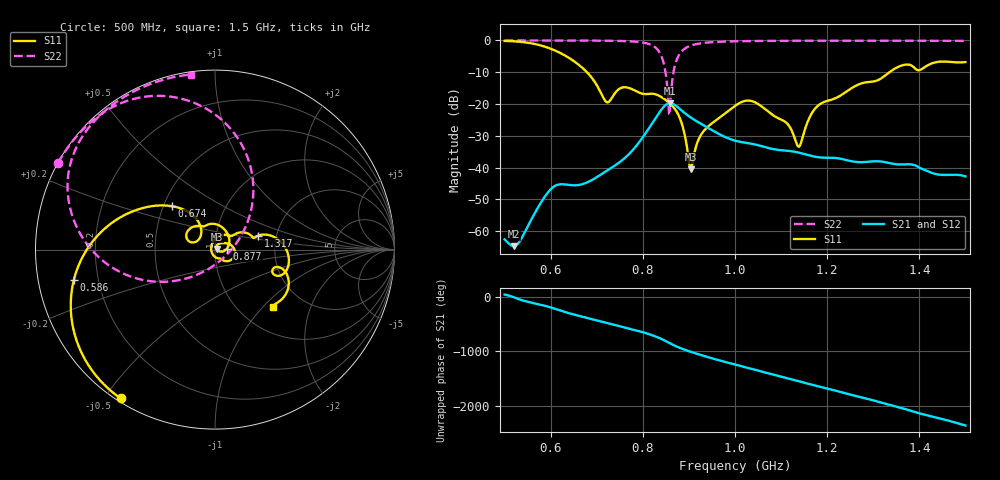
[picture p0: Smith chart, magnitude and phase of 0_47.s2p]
! TOUCHSTONE file generated by CST MICROWAVE STUDIO
! Date and time: Sat Oct 24 11:18:23 2020
! Project name: Scenario_1_Circular_Tissue_in_Line.cst
! Parameters = {L_HA=400; MT=2.54; Rad_Dielectric=30; Rad_Lower=7.3; Rad_Upper=30; a_HA=580; a_WG=246; b_HA=500; b_WG=121; c_HA=0; c_WG=187; d_feed=85; dx1=969.72; h_feed=15; h_lower=18; h_upper=40}
! Header version: 2018
! Port assignment regex: !\s*Touchstone port\s*([0-9]+)\s*=\s*(CST MWS port|CST DS port)\s*([0-9]+|Zmin|Zmax)\s*\(\"(.*)\"\)(\s*mode\s*([0-9]+))?.*
! Touchstone port assignment:
! Touchstone port 1 = CST MWS port 1 ("")
! Touchstone port 2 = CST MWS port 2 ("")
# GHz S DB R 50
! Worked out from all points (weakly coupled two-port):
!   1003 points, 500 MHz to 1.5 GHz, reference 50 ohm
!   highest |S21| = -19.73 dB at 859 MHz (marker M1); lowest = -64.7 dB at 520 MHz (marker M2)
!   lowest |S11| = -40.5 dB at 904 MHz (marker M3), VSWR 1.02, Z = 50.9 + j0.396 ohm
!   |S11| at or under -10 dB: 678.8 MHz to 1.335 GHz (656.3 MHz wide, 65.2 % of centre)
!   |S22| runs from -23.4 to 0.0 dB; largest |S21 - S12| = 2.6e-05
!   S11 on the Smith chart (normalised r, x): 500 MHz: 0.01, -0.55; 586 MHz: 0.11, -0.10; 674 MHz: 0.55, +0.30; 877 MHz: 1.14, +0.01; 1.317 GHz: 1.60, +0.27; 1.5 GHz: 1.41, -1.15
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0.5  -0.16 -122.3  -62.56 36.9  -62.56 36.9  -0.01 151.1
0.52  -0.27 -131.5  -64.70 -12.5  -64.74 -12.3  -0.01 149.8
0.586  -1.90 -168.0  -49.37 -164.8  -49.36 -164.8  -0.02 145.2
0.667  -8.40 139.7  -45.27 -5.7  -45.27 -5.7  -0.04 138.4
0.674  -9.31 134.9  -44.95 -20.7  -44.95 -20.7  -0.05 137.7
0.722  -19.43 142.5  -40.97 -123.6  -40.97 -123.6  -0.09 132.0
0.755  -14.81 150.8  -37.68 166.5  -37.68 166.5  -0.18 126.5
0.792  -16.42 120.4  -32.01 86.9  -32.01 86.9  -0.50 116.1
0.834  -17.31 79.8  -23.02 -33.0  -23.02 -33.0  -3.27 83.4
0.848  -18.55 58.4  -20.48 -88.0  -20.48 -88.0  -9.04 53.2
0.859  -19.84 40.1  -19.73 -136.4  -19.73 -136.4  -21.43 -90.7
0.877  -23.38 5.1  -21.14 151.4  -21.14 151.4  -4.94 -168.8
0.904  -40.46 24.3  -24.24 68.4  -24.24 68.4  -1.63 165.3
0.931  -28.70 58.2  -26.62 -3.4  -26.62 -3.4  -0.80 154.0
1  -20.60 15.0  -31.51 -164.0  -31.51 -164.0  -0.27 140.2
1.05  -19.99 -38.8  -32.93 83.7  -32.93 83.7  -0.17 134.4
1.113  -26.11 -73.7  -34.69 -53.8  -34.69 -53.8  -0.12 128.6
1.138  -33.43 -170.8  -35.26 -110.8  -35.26 -110.8  -0.10 126.5
1.167  -22.82 77.8  -36.35 -174.1  -36.35 -174.1  -0.09 124.2
1.317  -11.95 18.0  -38.07 -141.2  -38.07 -141.2  -0.09 112.7
1.334  -10.12 15.0  -38.53 178.8  -38.53 178.8  -0.09 111.4
1.5  -6.82 -45.0  -42.73 159.8  -42.74 159.8  -0.13 97.8
